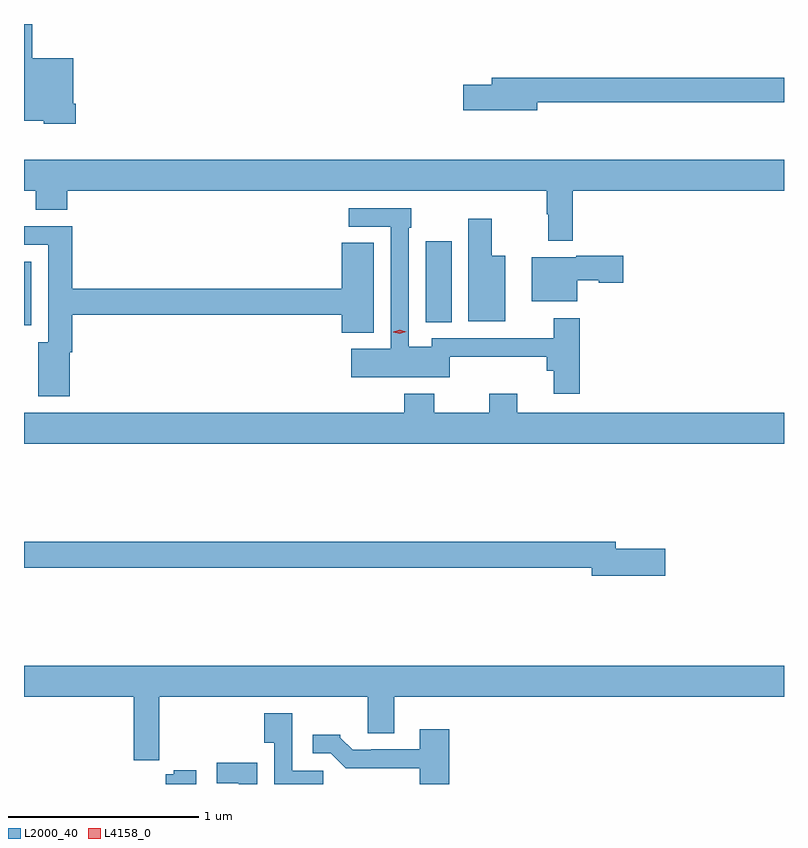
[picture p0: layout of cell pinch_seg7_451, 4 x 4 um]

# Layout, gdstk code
import gdstk
lib = gdstk.Library(unit=1e-6, precision=1e-09)
def R(c, l, rs):  # rectangles x0, y0, x1, y1
    for r in rs: c.add(gdstk.rectangle(r[:2], r[2:], *l))
def P(c, l, *ps):  # polygons
    for p in ps: c.add(gdstk.Polygon(p, *l))
L2000_40 = (2000, 40)
L4158_0 = (4158, 0)

pinch_seg7_451 = lib.new_cell('pinch_seg7_451')
R(pinch_seg7_451, L2000_40, [(361.713,1041.2,361.75,1041.535), (363.827,1041.217,363.964,1041.643)])
P(pinch_seg7_451, L2000_40, [(361.985,1042.366),(361.972,1042.366),(361.972,1042.606),(361.757,1042.606),(361.757,1042.786),(361.713,1042.786),(361.713,1042.277),(361.818,1042.277),(361.818,1042.262),(361.985,1042.262)],
  [(364.414,1042.374),(365.713,1042.374),(365.713,1042.502),(364.175,1042.502),(364.175,1042.466),(364.026,1042.466),(364.026,1042.331),(364.414,1042.331)],
  [(364.6,1041.908),(365.713,1041.908),(365.713,1042.072),(361.713,1042.072),(361.713,1041.908),(361.775,1041.908),(361.775,1041.809),(361.94,1041.809),(361.94,1041.908),(364.465,1041.908),(364.465,1041.785),(364.473,1041.785),(364.473,1041.645),(364.6,1041.645)],
  [(364.637,1041.238),(364.502,1041.238),(364.502,1041.132),(363.858,1041.132),(363.858,1041.088),(363.738,1041.088),(363.738,1041.713),(363.751,1041.713),(363.751,1041.816),(363.423,1041.816),(363.423,1041.72),(363.642,1041.72),(363.642,1041.076),(363.435,1041.076),(363.435,1040.927),(363.954,1040.927),(363.954,1041.035),(364.463,1041.035),(364.463,1040.96),(364.502,1040.96),(364.502,1040.841),(364.637,1040.841)],
  [(364.246,1041.565),(364.174,1041.565),(364.174,1041.76),(364.052,1041.76),(364.052,1041.221),(364.246,1041.221)],
  [(361.954,1041.059),(361.967,1041.059),(361.967,1041.256),(363.386,1041.256),(363.386,1041.161),(363.553,1041.161),(363.553,1041.635),(363.386,1041.635),(363.386,1041.392),(361.967,1041.392),(361.967,1041.722),(361.713,1041.722),(361.713,1041.624),(361.841,1041.624),(361.841,1041.112),(361.787,1041.112),(361.787,1040.826),(361.954,1040.826)],
  [(364.624,1041.437),(364.737,1041.437),(364.737,1041.425),(364.867,1041.425),(364.867,1041.566),(364.62,1041.566),(364.62,1041.559),(364.385,1041.559),(364.385,1041.326),(364.624,1041.326)],
  [(365.713,1040.74),(364.309,1040.74),(364.309,1040.839),(364.162,1040.839),(364.162,1040.74),(363.873,1040.74),(363.873,1040.839),(363.713,1040.839),(363.713,1040.74),(361.713,1040.74),(361.713,1040.576),(365.713,1040.576)],
  [(365.089,1040.024),(364.828,1040.024),(364.828,1040.06),(361.713,1040.06),(361.713,1039.924),(364.7,1039.924),(364.7,1039.882),(365.089,1039.882)],
  [(361.713,1039.244),(362.29,1039.244),(362.29,1038.912),(362.425,1038.912),(362.425,1039.024),(362.426,1039.024),(362.426,1039.244),(363.521,1039.244),(363.521,1039.054),(363.661,1039.054),(363.661,1039.244),(365.713,1039.244),(365.713,1039.408),(361.713,1039.408)],
  [(363.289,1038.855),(363.126,1038.855),(363.126,1039.159),(362.978,1039.159),(362.978,1039.003),(363.03,1039.003),(363.03,1038.786),(363.289,1038.786)],
  [(363.95,1039.075),(363.797,1039.075),(363.797,1038.969),(363.541,1038.969),(363.541,1038.966),(363.442,1038.966),(363.378,1039.03),(363.378,1039.045),(363.234,1039.045),(363.234,1038.948),(363.327,1038.948),(363.406,1038.87),(363.795,1038.87),(363.795,1038.786),(363.95,1038.786)],
  [(362.94,1038.898),(362.727,1038.898),(362.727,1038.789),(362.844,1038.789),(362.844,1038.786),(362.94,1038.786)],
  [(362.62,1038.858),(362.502,1038.858),(362.502,1038.838),(362.46,1038.838),(362.46,1038.786),(362.62,1038.786)])
P(pinch_seg7_451, L4158_0, [(363.691,1041.156),(363.656,1041.164),(363.656,1041.164),(363.656,1041.165),(363.69,1041.176),(363.725,1041.167),(363.725,1041.167),(363.725,1041.167)])

lib.write_gds('pinch_seg7_451.gds')
